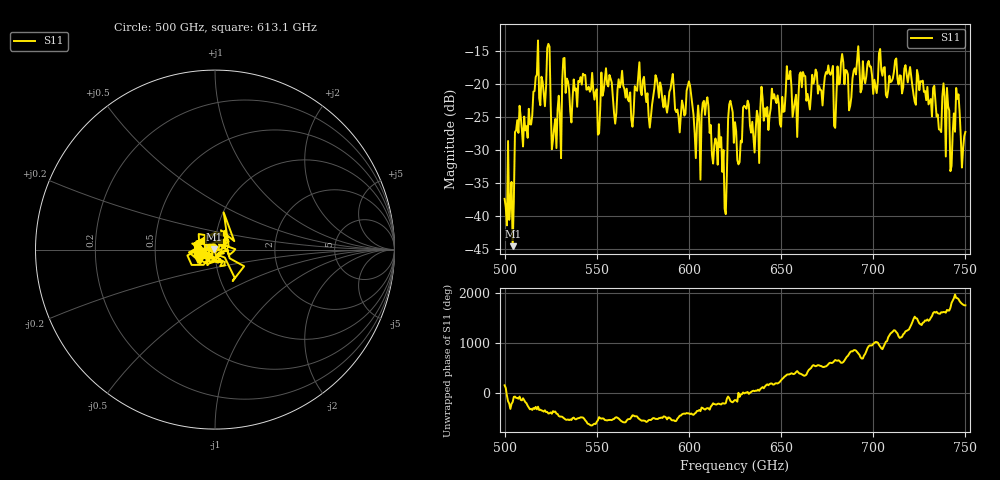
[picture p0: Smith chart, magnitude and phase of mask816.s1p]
!Created with skrf (http://scikit-rf.org).
# GHz S MA R 50.0
!freq magS11 angS11
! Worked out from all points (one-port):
!   401 points, 500 GHz to 750 GHz, reference 50 ohm
!   lowest |S11| = -44.6 dB at 504.4 GHz (marker M1), VSWR 1.01, Z = 49.4 + j0.0885 ohm
!   |S11| at or under -10 dB: start of sweep to end of sweep
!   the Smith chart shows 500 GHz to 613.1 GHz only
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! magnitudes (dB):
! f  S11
! 500 GHz  -37.4
! 504.4 GHz  -44.6
! 506.9 GHz  -25.5
! 513.8 GHz  -26.1
! 516.9 GHz  -19.0
! 523.8 GHz  -13.9
! 526.9 GHz  -26.7
! 531.2 GHz  -19.5
! 542.5 GHz  -18.5
! 550.6 GHz  -27.7
! 562.5 GHz  -20.6
! 579.4 GHz  -25.0
! 590.6 GHz  -19.6
! 593.8 GHz  -23.9
! 600 GHz  -19.6
! 605 GHz  -23.3
! 609.4 GHz  -22.9
! 619.4 GHz  -38.9
! 622.5 GHz  -22.6
! 625 GHz  -25.8
! 656.2 GHz  -25.0
! 676.9 GHz  -18.6
! 680 GHz  -22.1
! 683.8 GHz  -16.7
! 687.5 GHz  -23.3
! 691.2 GHz  -16.5
! 718.8 GHz  -19.8
! 750 GHz  -27.3
